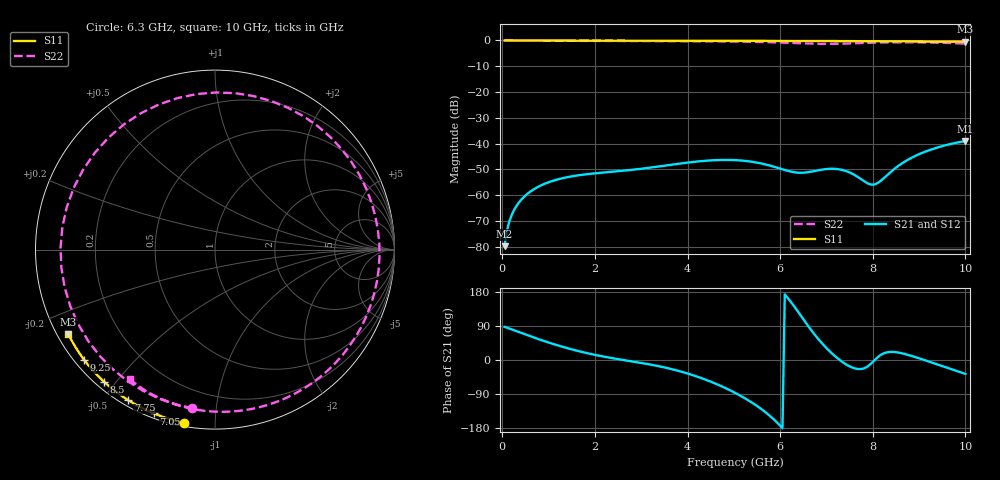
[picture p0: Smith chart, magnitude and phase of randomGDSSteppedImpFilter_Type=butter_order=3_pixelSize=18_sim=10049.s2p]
! freq	dB(S11)	phase(S11)	dB(S12)	phase(S12)
!  dB(S21)	phase(S21)	dB(S22)	phase(S22)
!S-par simulation data
#  GHz  S  DB  R 50
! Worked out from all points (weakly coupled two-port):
!   200 points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, 50 MHz to 10 GHz, reference 50 ohm
!   highest |S21| = -39.01 dB at 10 GHz (marker M1); lowest = -79.9 dB at 50 MHz (marker M2)
!   lowest |S11| = -0.5 dB at 10 GHz (marker M3), VSWR 34.34, Z = 1.56 - j13.4 ohm
!   |S11| at or under -10 dB: nowhere
!   |S22| runs from -1.3 to 0.0 dB; largest |S21 - S12| = 0
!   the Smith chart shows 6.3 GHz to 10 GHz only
!   S11 on the Smith chart (normalised r, x): 6.3 GHz: 0.02, -0.84; 7.05 GHz: 0.02, -0.69; 7.75 GHz: 0.02, -0.58; 8.5 GHz: 0.02, -0.47; 9.25 GHz: 0.03, -0.36; 10 GHz: 0.03, -0.27
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0.05  -0.00 -0.9  -79.85 87.5  -79.85 87.5  -0.00 -3.8
0.2  -0.00 -3.5  -67.87 80.7  -67.87 80.7  -0.02 -15.1
0.5  -0.01 -8.7  -60.19 67.1  -60.19 67.1  -0.05 -37.3
1.1  -0.02 -19.0  -54.44 42.2  -54.44 42.2  -0.10 -79.7
1.75  -0.04 -30.0  -52.08 20.4  -52.08 20.4  -0.13 -121.5
2.6  -0.06 -44.0  -50.59 0.3  -50.59 0.3  -0.17 -171.6
3.4  -0.08 -56.9  -48.86 -16.9  -48.86 -16.9  -0.22 141.7
3.9  -0.09 -64.7  -47.63 -32.0  -47.63 -32.0  -0.26 110.7
4.3  -0.10 -70.9  -46.83 -47.8  -46.83 -47.8  -0.31 83.9
5.05  -0.13 -82.1  -46.47 -88.2  -46.47 -88.2  -0.44 27.0
5.65  -0.15 -90.8  -47.98 -134.7  -47.98 -134.7  -0.63 -26.9
6  -0.17 -95.8  -49.75 -173.3  -49.75 -173.3  -0.80 -63.2
6.3  -0.18 -100.0  -51.14 142.1  -51.14 142.1  -0.98 -98.1
6.7  -0.21 -105.6  -50.84 74.1  -50.84 74.1  -1.23 -151.4
7.05  -0.23 -110.4  -49.84 25.3  -49.84 25.3  -1.32 156.4
7.4  -0.25 -115.2  -50.57 -9.8  -50.57 -9.8  -1.21 103.8
7.75  -0.28 -119.9  -53.87 -23.8  -53.87 -23.8  -1.00 56.5
8.05  -0.30 -123.9  -55.82 1.0  -55.82 1.0  -0.84 22.1
8.35  -0.33 -127.9  -51.63 21.0  -51.63 21.0  -0.74 -7.0
8.5  -0.34 -129.9  -49.39 20.6  -49.39 20.6  -0.71 -20.0
9.25  -0.42 -139.9  -42.41 -5.7  -42.41 -5.7  -0.80 -74.2
10  -0.51 -150.0  -39.01 -36.7  -39.01 -36.7  -1.27 -123.4
